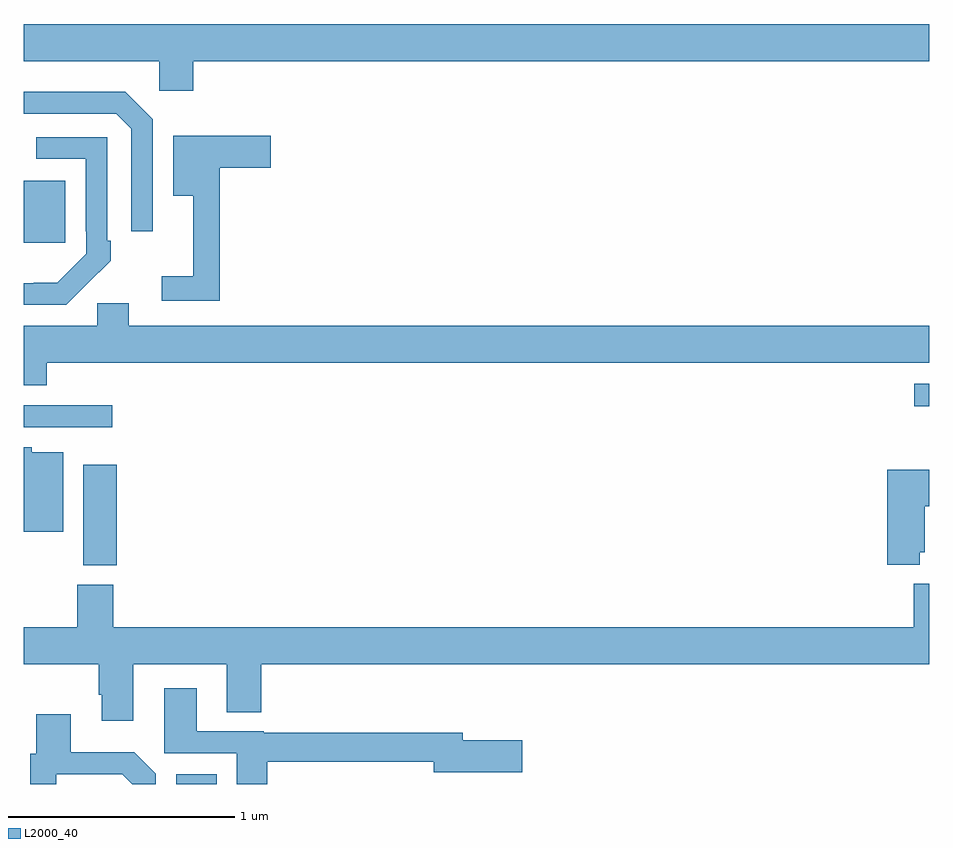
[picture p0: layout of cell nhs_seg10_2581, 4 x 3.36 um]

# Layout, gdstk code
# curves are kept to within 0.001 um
import gdstk
lib = gdstk.Library(unit=1e-6, precision=1e-09)
def R(c, l, rs):  # rectangles x0, y0, x1, y1
    for r in rs: c.add(gdstk.rectangle(r[:2], r[2:], *l))
def P(c, l, *ps):  # polygons
    for p in ps: c.add(gdstk.Polygon(p, *l))
L2000_40 = (2000, 40)

nhs_seg10_2581 = lib.new_cell('nhs_seg10_2581')
R(nhs_seg10_2581, L2000_40, [(251.675,1254.5,251.854,1254.544), (251.264,1255.465,251.411,1255.909), (251,1256.076,251.392,1256.172), (254.934,1256.167,255,1256.268), (251,1256.889,251.185,1257.163)])
P(nhs_seg10_2581, L2000_40, [(251.75,1257.692),(255,1257.692),(255,1257.856),(251,1257.856),(251,1257.692),(251.598,1257.692),(251.598,1257.561),(251.75,1257.561)],
  [(251.571,1257.435),(251.45,1257.556),(251,1257.556),(251,1257.459),(251.409,1257.459),(251.475,1257.393),(251.475,1256.94),(251.571,1256.94)],
  [(251.867,1257.221),(252.091,1257.221),(252.091,1257.363),(251.66,1257.363),(251.66,1257.098),(251.75,1257.098),(251.75,1256.743),(251.61,1256.743),(251.61,1256.634),(251.867,1256.634)],
  [(251.279,1256.707),(251.28,1256.706),(251.385,1256.811),(251.385,1256.899),(251.37,1256.899),(251.37,1257.357),(251.055,1257.357),(251.055,1257.261),(251.274,1257.261),(251.274,1256.941),(251.277,1256.941),(251.277,1256.841),(251.149,1256.713),(251,1256.712),(251,1256.616),(251.188,1256.616)],
  [(251.102,1256.36),(255,1256.36),(255,1256.524),(251.464,1256.524),(251.464,1256.622),(251.325,1256.622),(251.325,1256.524),(251,1256.524),(251,1256.261),(251.102,1256.261)],
  [(251.176,1255.966),(251.037,1255.966),(251.037,1255.987),(251,1255.987),(251,1255.613),(251.176,1255.613)],
  [(254.958,1255.523),(254.98,1255.523),(254.98,1255.726),(255,1255.726),(255,1255.888),(254.813,1255.888),(254.813,1255.469),(254.958,1255.469)],
  [(251.485,1255.028),(251.897,1255.028),(251.897,1254.817),(252.05,1254.817),(252.05,1255.028),(255,1255.028),(255,1255.384),(254.93,1255.384),(254.93,1255.192),(251.396,1255.192),(251.396,1255.38),(251.236,1255.38),(251.236,1255.192),(251,1255.192),(251,1255.028),(251.333,1255.028),(251.333,1254.895),(251.345,1254.895),(251.345,1254.78),(251.485,1254.78)],
  [(252.077,1254.598),(252.812,1254.598),(252.812,1254.551),(253.201,1254.551),(253.201,1254.693),(252.94,1254.693),(252.94,1254.727),(252.06,1254.727),(252.06,1254.732),(251.764,1254.732),(251.764,1254.922),(251.621,1254.922),(251.621,1254.636),(251.942,1254.636),(251.942,1254.5),(252.077,1254.5)],
  [(251.145,1254.543),(251.436,1254.543),(251.479,1254.5),(251.583,1254.5),(251.583,1254.546),(251.489,1254.64),(251.209,1254.64),(251.209,1254.808),(251.057,1254.808),(251.057,1254.633),(251.029,1254.633),(251.029,1254.5),(251.145,1254.5)])

lib.write_gds('nhs_seg10_2581.gds')
